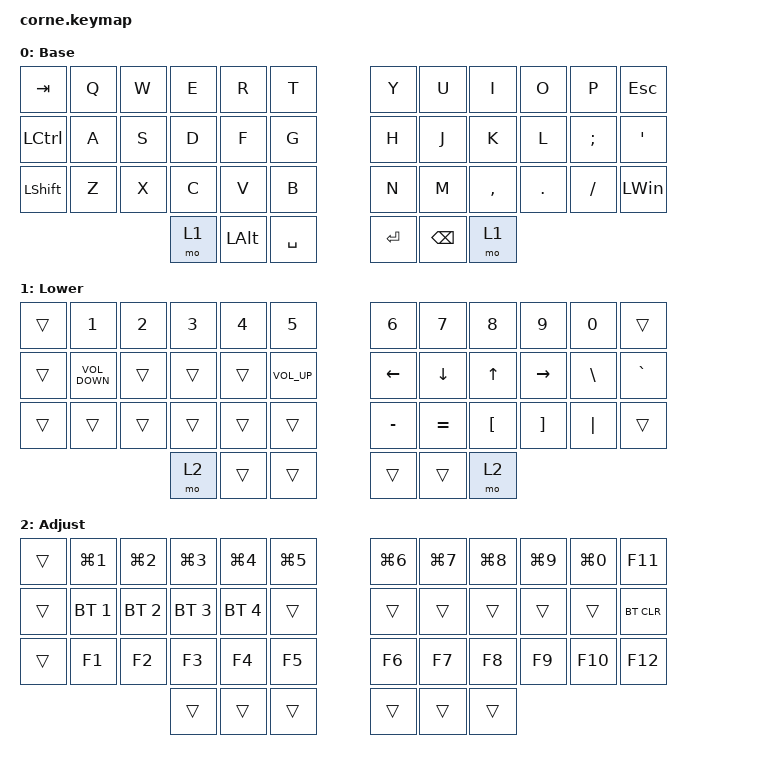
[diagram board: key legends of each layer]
/*
 * Copyright (c) 2020 The ZMK Contributors
 *
 * SPDX-License-Identifier: MIT
 */

#include <behaviors.dtsi>
#include <dt-bindings/zmk/bt.h>
#include <dt-bindings/zmk/keys.h>

// dt-formatter: indent = "  "
// dt-formatter: reindentMultilineIntegerCells = "dedent"

/ {
  behaviors {
    hm: homerow_mods {
      compatible = "zmk,behavior-hold-tap";
      label = "HOMEROW_MODS";
      #binding-cells = <2>;
      tapping-term-ms = <150>;
      quick-tap-ms = <0>;
      flavor = "tap-preferred";
      bindings =
        <&kp>,
        <&kp>;
    };
  };

  combos {
    compatible = "zmk,combos";
  };

  macros {
    zed_em_kay: zed_em_kay {
      compatible = "zmk,behavior-macro";
      label = "ZM_zed_em_kay";
      #binding-cells = <0>;
      bindings =
        <&macro_press>,
        <&kp LSHFT>,
        <&macro_tap>,
        <&kp Z &kp M &kp K>,
        <&macro_release>,
        <&kp LSHFT>;
    };
  };

  keymap {
    compatible = "zmk,keymap";

    Base {
      bindings = <
  &kp TAB  &kp Q  &kp W  &kp E         &kp R      &kp T        &kp Y          &kp U      &kp I    &kp O     &kp P    &kp ESCAPE
&kp LCTRL  &kp A  &kp S  &kp D         &kp F      &kp G        &kp H          &kp J      &kp K    &kp L  &kp SEMI       &kp SQT
&kp LSHFT  &kp Z  &kp X  &kp C         &kp V      &kp B        &kp N          &kp M  &kp COMMA  &kp DOT  &kp FSLH  &kp LEFT_WIN
                         &mo 1  &kp LEFT_ALT  &kp SPACE    &kp ENTER  &kp BACKSPACE      &mo 1
      >;

      label = "Base";
    };

    Lower {
      bindings = <
&trans       &kp NUMBER_1  &kp NUMBER_2  &kp NUMBER_3  &kp NUMBER_4     &kp NUMBER_5    &kp NUMBER_6  &kp NUMBER_7      &kp NUMBER_8       &kp NUMBER_9  &kp NUMBER_0     &trans
&trans  &kp C_VOLUME_DOWN        &trans        &trans        &trans  &kp C_VOLUME_UP        &kp LEFT      &kp DOWN            &kp UP          &kp RIGHT      &kp BSLH  &kp GRAVE
&trans             &trans        &trans        &trans        &trans           &trans       &kp MINUS     &kp EQUAL  &kp LEFT_BRACKET  &kp RIGHT_BRACKET      &kp PIPE     &trans
                                                &mo 2        &trans           &trans          &trans        &trans             &mo 2
      >;

      label = "Lower";
    };

    Adjust {
      bindings = <
&trans  &kp LG(NUMBER_1)  &kp LG(NUMBER_2)  &kp LG(NUMBER_3)  &kp LG(NUMBER_4)  &kp LG(NUMBER_5)    &kp LG(NUMBER_6)  &kp LG(NUMBER_7)  &kp LG(NUMBER_8)  &kp LG(NUMBER_9)  &kp LG(NUMBER_0)     &kp F11
&trans      &bt BT_SEL 1      &bt BT_SEL 2      &bt BT_SEL 3      &bt BT_SEL 4            &trans              &trans            &trans            &trans            &trans            &trans  &bt BT_CLR
&trans            &kp F1            &kp F2            &kp F3            &kp F4            &kp F5              &kp F6            &kp F7            &kp F8            &kp F9           &kp F10     &kp F12
                                                      &trans            &trans            &trans              &trans            &trans            &trans
      >;

      label = "Adjust";
    };
  };
};
